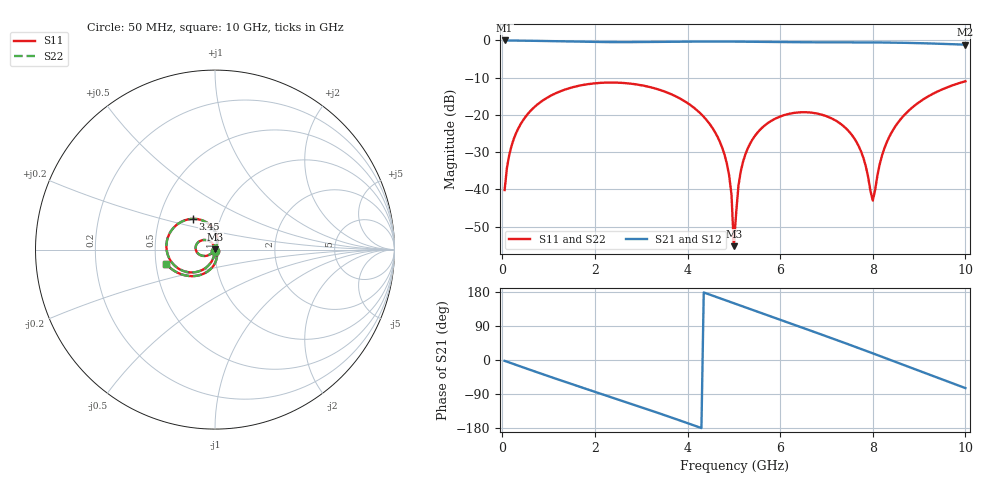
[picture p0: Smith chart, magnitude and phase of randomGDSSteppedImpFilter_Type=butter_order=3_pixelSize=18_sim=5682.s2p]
! freq	dB(S11)	phase(S11)	dB(S12)	phase(S12)
!  dB(S21)	phase(S21)	dB(S22)	phase(S22)
!S-par simulation data
#  GHz  S  DB  R 50
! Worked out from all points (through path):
!   200 points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, 50 MHz to 10 GHz, reference 50 ohm
!   highest |S21| = 0.00 dB at 50 MHz (marker M1); lowest = -1.1 dB at 10 GHz (marker M2)
!   group delay of S21, straight-line fit = 120 ps
!   lowest |S11| = -55.2 dB at 5 GHz (marker M3), VSWR 1.00, Z = 50.1 + j0.156 ohm
!   |S11| at or under -10 dB: start of sweep to end of sweep
!   |S22| runs from -53.9 to -11.0 dB; largest |S21 - S12| = 0
!   S11 on the Smith chart (normalised r, x): 50 MHz: 1.00, -0.02; 3.45 GHz: 0.74, +0.27; 10 GHz: 0.57, -0.10
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0.05  -40.19 -92.5  -0.00 -2.2  -0.00 -2.2  -40.19 -92.5
0.2  -28.29 -99.2  -0.02 -8.7  -0.02 -8.7  -28.29 -99.2
0.5  -20.54 -112.1  -0.06 -21.6  -0.06 -21.6  -20.54 -112.1
1.75  -11.94 -164.6  -0.37 -73.8  -0.37 -73.8  -11.94 -164.6
2.55  -11.37 162.9  -0.45 -106.2  -0.45 -106.2  -11.37 163.0
3.4  -13.27 128.0  -0.39 -141.1  -0.39 -141.1  -13.27 128.1
3.45  -13.48 125.9  -0.38 -143.2  -0.38 -143.2  -13.48 126.1
4.2  -18.71 93.9  -0.30 -175.3  -0.30 -175.3  -18.70 94.3
4.7  -27.27 72.2  -0.29 163.0  -0.29 163.0  -27.27 73.3
4.9  -36.36 63.9  -0.30 154.2  -0.30 154.2  -36.34 67.1
4.95  -41.51 62.2  -0.30 152.0  -0.30 152.0  -41.44 68.1
5  -55.25 64.3  -0.31 149.8  -0.31 149.8  -53.95 89.5
5.05  -46.30 -125.4  -0.31 147.6  -0.31 147.6  -46.11 -136.2
5.2  -32.51 -130.3  -0.33 141.1  -0.33 141.1  -32.51 -132.4
5.45  -25.72 -141.0  -0.36 130.1  -0.36 130.1  -25.72 -142.0
6.7  -19.43 163.9  -0.50 75.6  -0.50 75.6  -19.42 163.5
7.6  -26.29 119.0  -0.52 35.7  -0.52 35.7  -26.28 118.4
7.8  -31.63 102.6  -0.52 26.7  -0.52 26.7  -31.60 101.8
8  -43.00 18.0  -0.53 17.6  -0.53 17.6  -42.63 18.1
8.35  -26.04 -79.4  -0.57 1.6  -0.57 1.6  -26.03 -79.2
8.95  -17.04 -112.6  -0.71 -26.1  -0.71 -26.1  -17.05 -112.7
10  -10.96 -163.2  -1.14 -74.1  -1.14 -74.1  -10.96 -163.3
